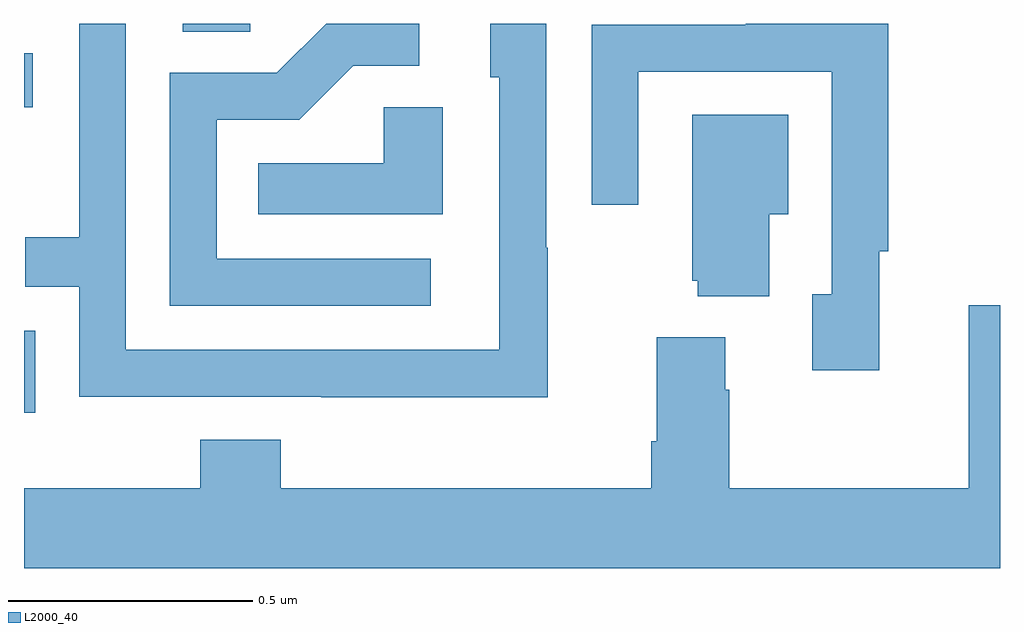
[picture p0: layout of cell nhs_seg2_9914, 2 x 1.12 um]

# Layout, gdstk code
import gdstk
lib = gdstk.Library(unit=1e-6, precision=1e-09)
def R(c, l, rs):  # rectangles x0, y0, x1, y1
    for r in rs: c.add(gdstk.rectangle(r[:2], r[2:], *l))
def P(c, l, *ps):  # polygons
    for p in ps: c.add(gdstk.Polygon(p, *l))
L2000_40 = (2000, 40)

nhs_seg2_9914 = lib.new_cell('nhs_seg2_9914')
R(nhs_seg2_9914, L2000_40, [(235,600.003,235.023,600.171), (235,600.629,235.018,600.739), (235.325,600.784,235.464,600.8)])
P(nhs_seg2_9914, L2000_40, [(235.834,600.318),(235.395,600.318),(235.395,600.603),(235.564,600.603),(235.675,600.714),(235.81,600.714),(235.81,600.8),(235.619,600.8),(235.518,600.699),(235.299,600.699),(235.299,600.222),(235.834,600.222)],
  [(236.753,600.334),(236.771,600.334),(236.771,600.8),(236.479,600.8),(236.479,600.798),(236.163,600.798),(236.163,600.429),(236.259,600.429),(236.259,600.702),(236.655,600.702),(236.655,600.246),(236.615,600.246),(236.615,600.09),(236.753,600.09)],
  [(236.073,600.341),(236.07,600.341),(236.07,600.8),(235.955,600.8),(235.955,600.69),(235.974,600.69),(235.974,600.132),(235.209,600.132),(235.209,600.8),(235.113,600.8),(235.113,600.362),(235.003,600.362),(235.003,600.261),(235.113,600.261),(235.113,600.036),(235.609,600.036),(235.609,600.035),(236.073,600.035)],
  [(235.858,600.629),(235.737,600.629),(235.737,600.514),(235.48,600.514),(235.48,600.41),(235.858,600.41)],
  [(236.527,600.41),(236.566,600.41),(236.566,600.613),(236.369,600.613),(236.369,600.273),(236.381,600.273),(236.381,600.242),(236.527,600.242)],
  [(237,600.223),(236.936,600.223),(236.936,599.848),(236.445,599.848),(236.445,600.05),(236.437,600.05),(236.437,600.157),(236.297,600.157),(236.297,599.944),(236.285,599.944),(236.285,599.848),(235.526,599.848),(235.526,599.947),(235.361,599.947),(235.361,599.848),(235,599.848),(235,599.684),(237,599.684)])

lib.write_gds('nhs_seg2_9914.gds')
